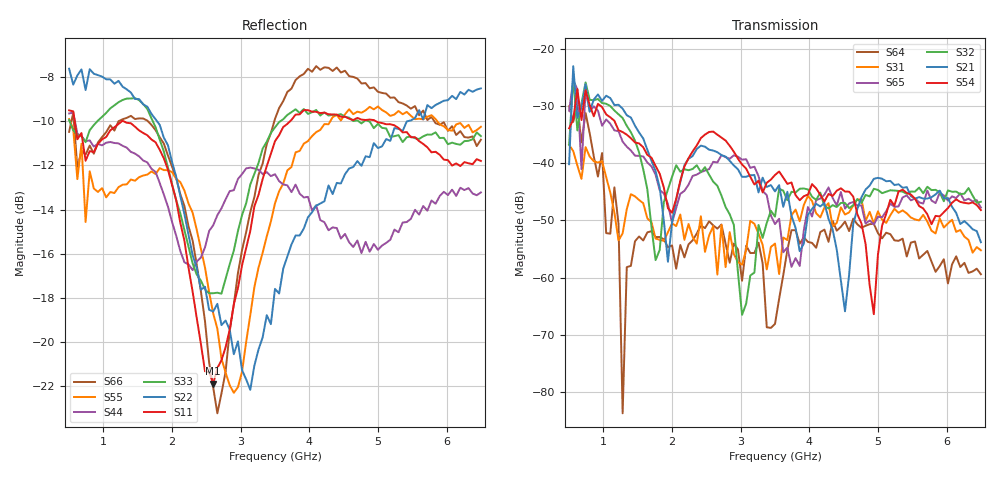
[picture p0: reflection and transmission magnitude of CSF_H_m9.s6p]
!Keysight Technologies,M9804A,MY58100912,A.14.10.03
!Date: Thursday, April 27, 2023 10:28:33
!Correction: S11(C  6-Port  )
!S12(C  6-Port  )
!S13(C  6-Port  )
!S14(C  6-Port  )
!S15(C  6-Port  )
!S16(C  6-Port  )
!S21(C  6-Port  )
!S22(C  6-Port  )
!S23(C  6-Port  )
!S24(C  6-Port  )
!S25(C  6-Port  )
!S26(C  6-Port  )
!S31(C  6-Port  )
!S32(C  6-Port  )
!S33(C  6-Port  )
!S34(C  6-Port  )
!S35(C  6-Port  )
!S36(C  6-Port  )
!S41(C  6-Port  )
!S42(C  6-Port  )
!S43(C  6-Port  )
!S44(C  6-Port  )
!S45(C  6-Port  )
!S46(C  6-Port  )
!S51(C  6-Port  )
!S52(C  6-Port  )
!S53(C  6-Port  )
!S54(C  6-Port  )
!S55(C  6-Port  )
!S56(C  6-Port  )
!S61(C  6-Port  )
!S62(C  6-Port  )
!S63(C  6-Port  )
!S64(C  6-Port  )
!S65(C  6-Port  )
!S66(C  6-Port  )
!S6P File: Measurement: :
# Hz S  RI  R 50
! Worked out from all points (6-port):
!   101 points, 500 MHz to 6.5 GHz, reference 50 ohm
!   strongest paths, dB at 500 MHz, 2 GHz, 3.5 GHz, 5 GHz, 6.5 GHz:
!     S54: -33.9, -48.7, -42.1, -56.0, -48.2
!     S21: -40.2, -50.3, -44.9, -42.6, -53.8
!     S32: -36.8, -42.4, -49.4, -44.7, -46.7
!     S65: -30.8, -50.4, -50.7, -49.4, -47.8
!     S31: -36.8, -50.5, -54.1, -48.4, -55.2
!     S64: -30.1, -54.4, -68.1, -52.2, -59.4
!   lowest |S11| = -21.9 dB at 2.6 GHz (marker M1), VSWR 1.18, Z = 42.8 + j1.94 ohm
!   |S11| at or under -10 dB: 580.9 MHz to 1.274 GHz (693 MHz wide, 74.7 % of centre); 1.29 GHz to 3.722 GHz (2.433 GHz wide, 97.1 % of centre); 4.967 GHz to end of sweep
